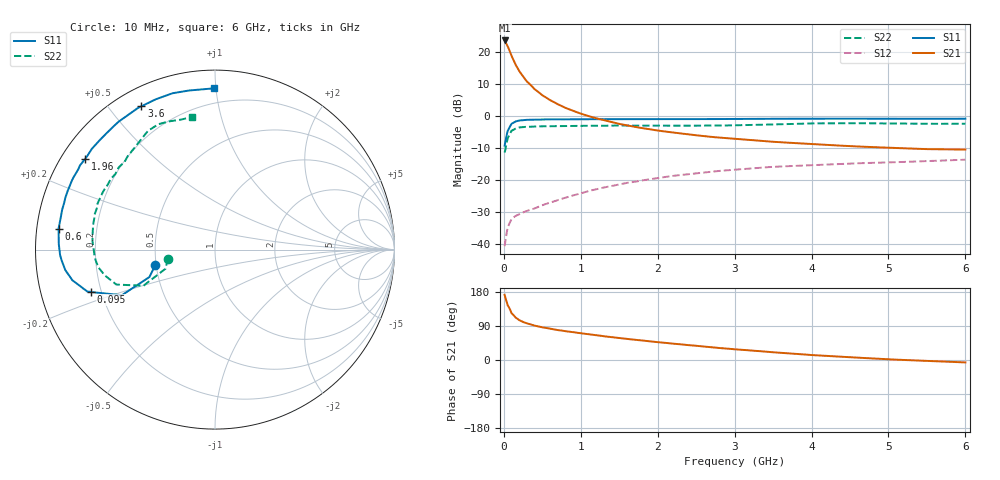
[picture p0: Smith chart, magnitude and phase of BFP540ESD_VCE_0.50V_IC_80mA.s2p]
! Infineon Technologies  Discrete & RF Semiconductors
! BFP540ESD
! VCE = 0.50 V,  IC =  80 mA
! Common Emitter S-Parameters:  Nov 2015
# GHz  S  MA  R  50
!  f  S11  S21  S12  S22
! GHz  MAG  ANG  MAG  ANG  MAG  ANG  MAG  ANG
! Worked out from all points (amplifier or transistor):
!   210 points, 10 MHz to 6 GHz, reference 50 ohm
!   highest |S21| = 23.4 dB at 10 MHz (marker M1)
!   |S21| within 3 dB of that: start of sweep to 70.27 MHz
!   unconditionally stable (mu >= 1): start of sweep to 99.72 MHz; 283.6 MHz to end of sweep
!   at 185 MHz: K = 0.93, MSG = 22.7 dB, |S12| = -30.8 dB
!   at 1.52 GHz: K = 1.46, MAG = 5.3 dB, |S12| = -21.3 dB
!   at 6 GHz: K = 1.37, MAG = -2.1 dB, |S12| = -13.7 dB
!   S11 on the Smith chart (normalised r, x): 10 MHz: 0.50, -0.10; 95 MHz: 0.16, -0.16; 600 MHz: 0.06, +0.07; 1.96 GHz: 0.07, +0.31; 3.6 GHz: 0.07, +0.61; 6 GHz: 0.11, +0.99
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0.01  0.3427 -165.6  14.87 172.0  0.0093 20.2  0.2676 -169.2
0.02  0.3963 -157.3  14.18 164.0  0.0111 31.4  0.2954 -158.9
0.05  0.5775 -153.9  12.12 144.4  0.0182 37.1  0.446 -153.2
0.095  0.7311 -161.2  8.861 126.3  0.0239 32.1  0.5691 -159.9
0.1  0.7487 -161.8  8.576 123.5  0.0245 31.7  0.5831 -160.5
0.15  0.8132 -167.9  6.309 112.2  0.0274 30.9  0.6322 -167.0
0.2  0.842 -172.3  4.956 105.1  0.0292 32.0  0.6572 -171.4
0.24  0.8523 -174.9  4.222 101.3  0.0309 32.9  0.6651 -173.9
0.3  0.8636 -178.0  3.411 96.4  0.0329 34.3  0.672 -177.1
0.4  0.8708 178.0  2.591 90.6  0.036 37.6  0.6785 179.0
0.5  0.8744 174.9  2.085 86.2  0.0404 40.8  0.6843 176.0
0.6  0.8794 172.4  1.753 82.7  0.0443 42.9  0.6873 173.5
0.8  0.8785 167.4  1.327 76.1  0.0528 46.7  0.6923 169.3
1.02  0.8799 162.6  1.06 70.1  0.0628 47.3  0.6955 165.1
1.4  0.8854 154.9  0.795 60.3  0.0803 47.0  0.7028 158.6
1.96  0.8825 144.9  0.598 47.9  0.1052 42.8  0.6994 149.7
2.02  0.8824 143.8  0.583 46.6  0.1077 42.3  0.6987 148.9
3.1  0.8921 125.2  0.428 26.9  0.1477 30.5  0.7147 131.7
3.6  0.8975 117.2  0.386 19.0  0.162 24.3  0.7361 124.6
4.1  0.8997 110.2  0.357 12.0  0.1723 18.4  0.7604 118.5
5.1  0.8973 98.4  0.315 0.9  0.1892 8.7  0.7558 108.5
6  0.8984 90.3  0.297 -6.4  0.2069 1.6  0.7496 100.0
